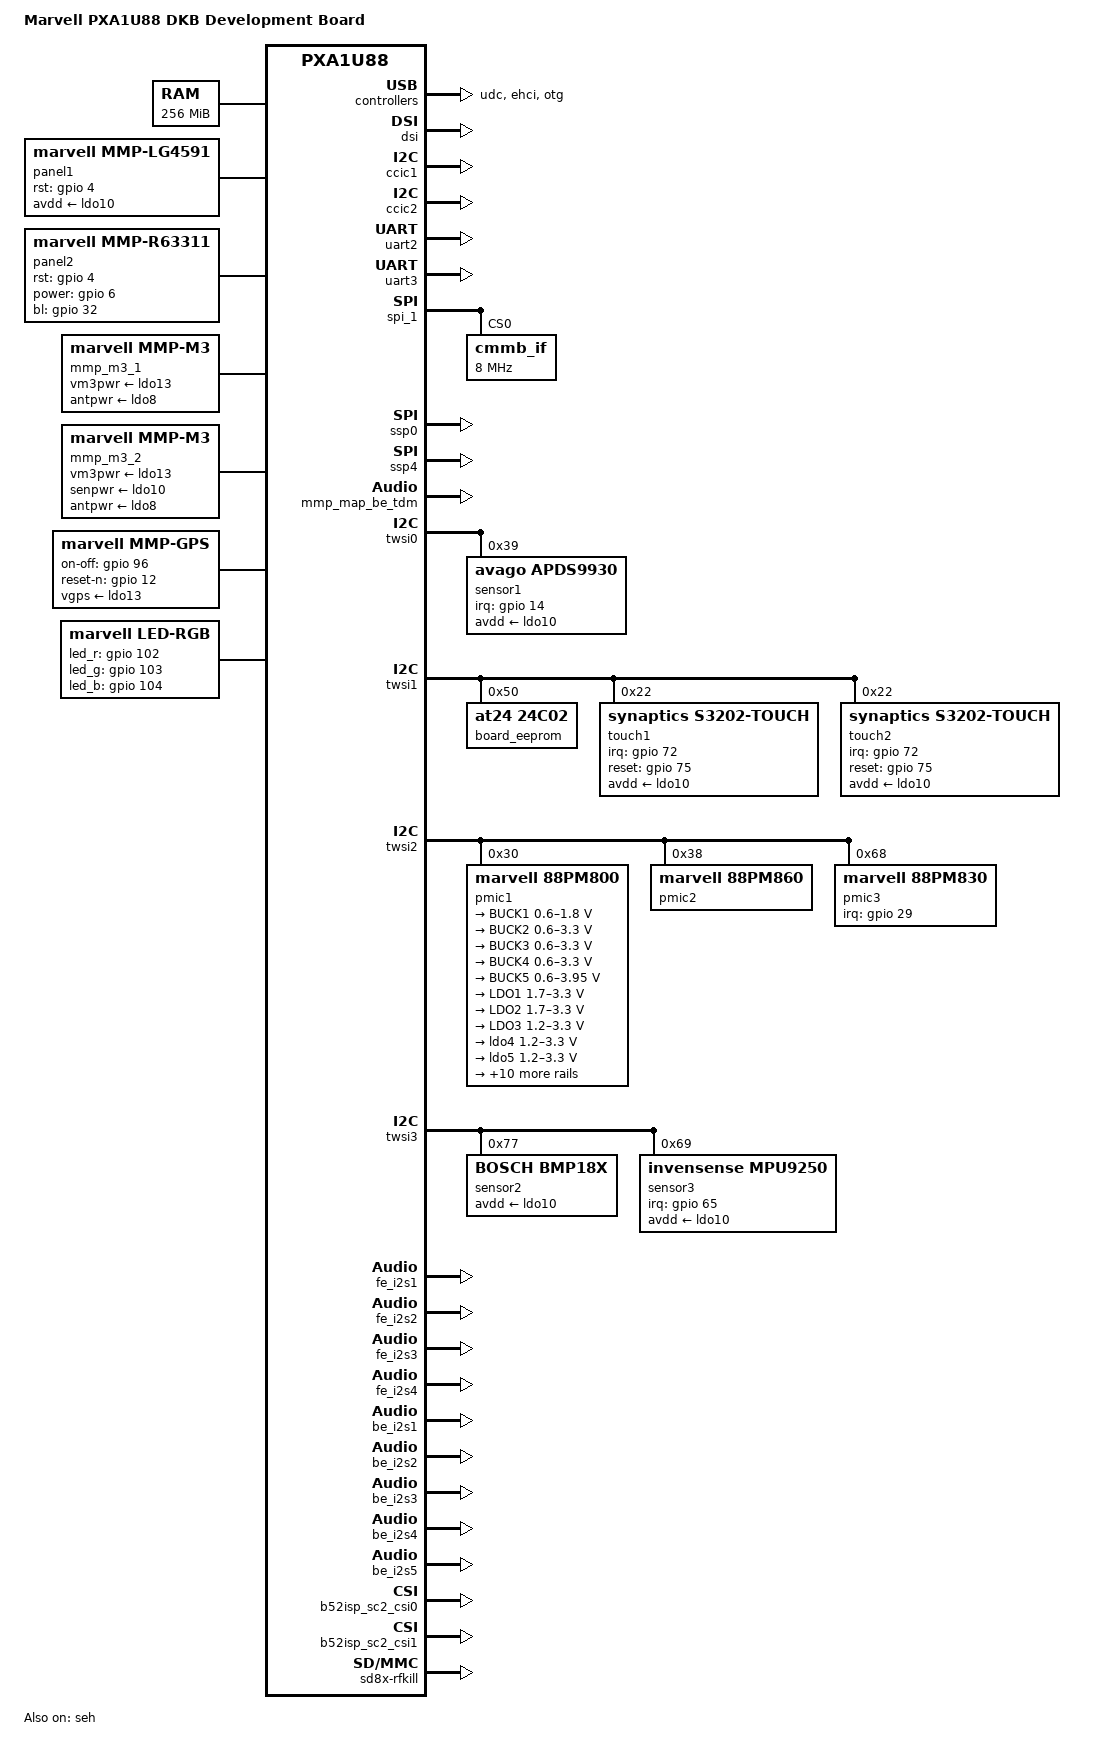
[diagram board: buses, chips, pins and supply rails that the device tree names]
/*
 *  Copyright (C) 2012 Marvell Technology Group Ltd.
 *  Author: Haojian Zhuang <haojian.zhuang@marvell.com>
 *
 *  This program is free software; you can redistribute it and/or modify
 *  it under the terms of the GNU General Public License version 2 as
 *  publishhed by the Free Software Foundation.
 */

/dts-v1/;
/memreserve/ 0x17000000 0x01800000;	/* Frame buffer (24MB) */
/memreserve/ 0x08100000 0x00040000;	/* ramoops buffer (256KB) */
/* hack for helan2 + GC5.x */
/memreserve/ 0x09000000 0x01000000;	/* GPU (16MB)*/

#include "pxa1U88.dtsi"
#include <dt-bindings/mmc/pxa_sdhci.h>
#include <dt-bindings/interrupt-controller/irq.h>

/ {
	model = "Marvell PXA1U88 DKB Development Board";
	compatible = "mrvl,pxa1U88-dkb", "mrvl,pxa1U88";

	chosen {
		bootargs = "console=ttyS0,115200 root=/dev/nfs nfsroot=192.168.1.100:/nfsroot/ ip=192.168.1.101:192.168.1.100::255.255.255.0::eth0:on";
	};

	memory {
		reg = <0x00000000 0x10000000>;
	};

	gic: interrupt-controller@d1dfa000 {
		status = "okay";
	};

	timer {
		status = "okay";
	};

	pmu {
		status = "okay";
	};

	soc {
		clock: clock-controller {
			status = "okay";
		};

		smmu {  /* iommu in vpu */
			status = "okay";
		};

		ddr@c0100000 {  /* DDR memory controller */
			status = "okay";
		};

		axi@d4200000 {	/* AXI */
			coda7542: coda7542@d420d000 {
				marvell,sram-internal = <1>;
				marvell,nv21_support = <1>;
				status = "okay";
			};

			intc: wakeupgen@d4282000 {
				status = "okay";
			};

			usbphy: usbphy@d4207000 {
				status = "okay";
			};

			udc: udc@d4208100 {
				status = "okay";
			};

			ehci: ehci@d4208100 {
				status = "okay";
			};

			otg: otg@d4208100 {
				status = "okay";
			};

			dsi: dsi@d420b800 {
				marvell,phy-name = "mmp_dsi1";
				marvell,plat-path-name = "mmp_pnpath";
				marvell,dsi-lanes = <4>;
				marvell,burst-mode = <2>;
				marvell,hbp-en;
				status = "okay";
			};

			vdma: vdma@d4209000 {
				marvell,vdma-num = <2>;
				marvell,vdma-axi = <1>;
				status = "okay";
				vdma1 {
					marvell,vdma-id = <0>;
					marvell,sram-size = <30720>;
					marvell,is_vid = <0>;
				};
				vdma2 {
					marvell,vdma-id = <2>;
					marvell,sram-size = <30720>;
					marvell,is_vid = <1>;
				};
			};

			apical: apical@d420b400 {
				marvell,apical-num = <1>;
			};

			disp: disp@d420b000 {
				pinctrl-names = "default";
				pinctrl-0 = <&disp_func>;
				marvell,disp-name = "disp_name";
				marvell,path-num = <1>;
				status = "okay";
				path1 {
					marvell,path-name = "mmp_pnpath";
					marvell,overlay-num = <2>;
					marvell,overlay-table = <0>, <1>;
					marvell,output-type = <1>;
					marvell,path-config = <0x10>;
					marvell,link-config = <0x1>;
                                        1080p {
						disp1_clksrc = "pll1_832m";
						disp2_clksrc = "pll2_div3";
						disp3_clksrc = "pll3p";
						dsipll_clksrc = "pll4";
						pn_sclk_clksrc = "disp1";
					};
					720p {
						disp1_clksrc = "pll1_832m";
						disp2_clksrc = "pll2_div3";
						disp3_clksrc = "pll3p";
						dsipll_clksrc = "pll4";
						pn_sclk_clksrc = "disp1";
					};
				};
			};

			fb0: fbbase {
				marvell,fb-name = "mmp-fb";
				marvell,path-name = "mmp_pnpath";
				marvell,overlay-id = <1>;
				marvell,default-pixfmt = <0x109>;
				marvell,buffer-num = <3>;
				marvell,fb-mem = <0x17000000>;
				status = "okay";
			};

			fb1: fboverlay {
				marvell,fb-name = "mmp-fb-overlay";
				marvell,path-name = "mmp_pnpath";
				marvell,overlay-id = <0>;
				status = "okay";
			};

			/* eMMC */
			sdh3: sdh@d4281000 {
				pinctrl-names = "default", "fast";
				pinctrl-0 = <&sdh3_pmx_func1 &sdh3_pmx_func2>;
				pinctrl-1 = <&sdh3_pmx_func1_fast &sdh3_pmx_func2_fast>;
				bus-width = <8>;
				non-removable;
				marvell,sdh-pm-runtime-en;
				marvell,sdh-quirks = <(
						SDHCI_QUIRK_BROKEN_ADMA |
						SDHCI_QUIRK_BROKEN_CARD_DETECTION
						)>;
				marvell,sdh-quirks2 = <(
						SDHCI_QUIRK2_TUNING_ADMA_BROKEN |
						SDHCI_QUIRK2_TIMEOUT_SHORT
						)>;
				marvell,sdh-host-caps = <(MMC_CAP_1_8V_DDR)>;
				marvell,sdh-host-caps2 = <(MMC_CAP2_DISABLE_BLK_ASYNC |
						MMC_CAP2_HS200_1_8V_SDR
						)>;
				marvell,sdh-flags = <(
						PXA_FLAG_SD_8_BIT_CAPABLE_SLOT |
						PXA_FLAG_ENABLE_CLOCK_GATING |
						PXA_FLAG_TX_SEL_BUS_CLK
					      )>;
/* prop "sdh-dtr-data": <timing preset_rate src_rate tx_delay rx_delay rx_clk_sel0 rx_clk_sel1 fclk_tune_level fclk_fix_en> */
				marvell,sdh-dtr-data = <PXA_MMC_TIMING_LEGACY PXA_SDH_DTR_26M PXA_SDH_DTR_104M 0 0 0 0 0 0>,
						<PXA_MMC_TIMING_MMC_HS PXA_SDH_DTR_52M PXA_SDH_DTR_104M 0 0 0 0 0 0>,
						<PXA_MMC_TIMING_UHS_DDR50 PXA_SDH_DTR_52M PXA_SDH_DTR_104M 0 0 0 0 0 0>,
						<PXA_MMC_TIMING_MMC_HS200 PXA_SDH_DTR_208M PXA_SDH_DTR_208M 0 0 0 0 0 0>,
						<PXA_MMC_TIMING_MAX PXA_SDH_DTR_PS_NONE PXA_SDH_DTR_104M 0 0 0 0 0 0>;
				marvell,sdh-tuning-win-limit = <150>;
				marvell,sdh-dvfs-levels = <1 3>; /* tuning from dvfs level 1 to 3  */
				marvell,sdh-tuning-mode = <PXA_SDH_TUNING_DVFS>;
				status = "okay";
			};

			/* SD card */
			sdh1: sdh@d4280000 {
				pinctrl-names = "default", "fast";
				pinctrl-0 = <&sdh1_pmx_func1 &sdh1_pmx_func2 &sdh1_pmx_func3>;
				pinctrl-1 = <&sdh1_pmx_func1 &sdh1_pmx_func2_fast &sdh1_pmx_func3_fast>;
				vqmmc-supply	= <&ldo5>;
				vmmc-supply	= <&ldo4>;
				cd-gpios = <&gpio 91 0>;
				cd-inverted;
				bus-width = <4>;
				wp-inverted;
				marvell,sdh-pm-runtime-en;
				marvell,sdh-host-caps-disable = <(MMC_CAP_UHS_SDR104)>;
				marvell,sdh-quirks = <(
						SDHCI_QUIRK_INVERTED_WRITE_PROTECT |
						SDHCI_QUIRK_BROKEN_CARD_DETECTION
						)>;
				marvell,sdh-quirks2 = <(
						SDHCI_QUIRK2_TUNING_ADMA_BROKEN |
						SDHCI_QUIRK2_TIMEOUT_SHORT
						)>;
				marvell,sdh-flags = <(
						PXA_FLAG_TX_SEL_BUS_CLK |
						PXA_FLAG_ENABLE_CLOCK_GATING
					      )>;
/* prop "sdh-dtr-data": <timing preset_rate src_rate tx_delay rx_delay rx_clk_sel0 rx_clk_sel1 fclk_tune_level fclk_fix_en> */
				marvell,sdh-dtr-data = <PXA_MMC_TIMING_LEGACY PXA_SDH_DTR_26M PXA_SDH_DTR_104M 0 0 0 0 0 0>,
						<PXA_MMC_TIMING_SD_HS PXA_SDH_DTR_52M PXA_SDH_DTR_104M 0 0 0 0 0 0>,
						<PXA_MMC_TIMING_UHS_DDR50 PXA_SDH_DTR_52M PXA_SDH_DTR_104M 0 0 0 0 0 0>,
						<PXA_MMC_TIMING_MAX PXA_SDH_DTR_PS_NONE PXA_SDH_DTR_104M 0 0 0 0 0 0>;
				status = "okay";
			};

			/* SDIO */
			sdh2: sdh@d4280800 {
				pinctrl-names = "default", "fast", "sleep";
				pinctrl-0 = <&sdh2_pmx_func1 &sdh2_pmx_func2 &sdh2_pmx_func3 &sdh2_pmx_func4>;
				pinctrl-1 = <&sdh2_pmx_func1_fast &sdh2_pmx_func2_fast &sdh2_pmx_func3 &sdh2_pmx_func4>;
				pinctrl-2 = <&sdh2_pmx_edge_wakeup>;
				bus-width = <4>;
				marvell,sdh-pm-runtime-en;
				marvell,sdh-host-caps-disable = <(MMC_CAP_UHS_SDR104 | MMC_CAP_UHS_SDR50)>;
				marvell,sdh-quirks = <(SDHCI_QUIRK_BROKEN_CARD_DETECTION)>;
				marvell,sdh-quirks2 = <(SDHCI_QUIRK2_HOLDSUSPEND_AFTER_REQUEST |
						SDHCI_QUIRK2_FAKE_SDIO_IRQ_IN_UHS |
						SDHCI_QUIRK2_TUNING_ADMA_BROKEN |
						SDHCI_QUIRK2_BASE_CLOCK_ALWAYS_ON |
						SDHCI_QUIRK2_MANUAL_CARD_DETECT |
						SDHCI_QUIRK2_TIMEOUT_SHORT
						)>;
				marvell,sdh-pm-caps = <(MMC_PM_KEEP_POWER)>;
				marvell,sdh-host-caps2 = <(MMC_CAP2_NO_VOLTAGE_SWITCH)>;
				marvell,sdh-flags = <(
						PXA_FLAG_WAKEUP_HOST |
						PXA_FLAG_TX_SEL_BUS_CLK |
						PXA_FLAG_EN_PM_RUNTIME |
						PXA_FLAG_DISABLE_PROBE_CDSCAN
					      )>;
/* prop "sdh-dtr-data": <timing preset_rate src_rate tx_delay rx_delay rx_clk_sel0 rx_clk_sel1 fclk_tune_level fclk_fix_en> */
				marvell,sdh-dtr-data = <PXA_MMC_TIMING_LEGACY PXA_SDH_DTR_26M PXA_SDH_DTR_104M 0 0 0 0 0 0>,
						<PXA_MMC_TIMING_SD_HS PXA_SDH_DTR_45M PXA_SDH_DTR_89M 0 0 0 0 0 0>,
						<PXA_MMC_TIMING_UHS_DDR50 PXA_SDH_DTR_52M PXA_SDH_DTR_104M 0 0 0 0 0 0>,
						<PXA_MMC_TIMING_UHS_SDR50 PXA_SDH_DTR_104M PXA_SDH_DTR_104M 0 0 0 0 0 0>,
						<PXA_MMC_TIMING_UHS_SDR104 PXA_SDH_DTR_208M PXA_SDH_DTR_208M 600 0 0 0 0 0>,
						<PXA_MMC_TIMING_MAX PXA_SDH_DTR_PS_NONE PXA_SDH_DTR_89M 0 0 0 0 0 0>;
				status = "okay";
			};

			ccic1: ccic@d420a000 {
			   pinctrl-names = "default";
			   pinctrl-0 = <&ccic1_pmx_func1 &ccic1_pmx_func2>;
			   interrupts = <0 42 0x4>;
			   status = "okay";
			};

			ccic2: ccic@d420a800 {
			   pinctrl-names = "default";
			   pinctrl-0 = <&ccic2_pmx_func1 &ccic2_pmx_func2>;
			   interrupts = <0 77 0x4>;
			   status = "okay";
			};

			sc2mmu1: sc2mmu@d420F000 {
				interrupts = <0 15 0x4>;
				status = "okay";
			};

			b52isp: b52isp@0xC0200000 {
				interrupts = <0 11 0x4>;
				status = "okay";
			};

			vpu-devfreq {
				status = "okay";
			};

			asram: asram@d12a0000 {
				status = "okay";
			};

			adma0: adma@d128d800 {
				status = "okay";
			};
			adma1: adma@d128d900 {
				status = "okay";
			};
		};

		apb@d4000000 {
			pdma0: pdma@d4000000 {
				status = "okay";
			};

			timer2: timer@d401f000 {
				status = "okay";
			};

			uart2: uart@d4017000 {
				pinctrl-names = "default", "sleep";
				pinctrl-0 = <&uart2_pmx_func1 &uart2_pmx_func2>;
				pinctrl-1 = <&uart2_pmx_func1_sleep &uart2_pmx_func2>;
				edge-wakeup-gpio = <47>; /* GPIO47: UART rx pin */
				status = "okay";
			};

			uart3: uart@d4018000 {
				pinctrl-names = "default";
				pinctrl-0 = <&uart3_pmx_func>;
				status = "okay";
			};

			mfpr: mfpr@d401e000 {
				reg = <0xd401e000 0x280>;
				status = "ok";
			};

			edgewakeup: edgewakeup@d4019800 {
				status = "okay";
			};

			rtc: rtc@d4010000 {
				status = "okay";
			};

			swjtag: swjtag@d4013100 {
				status = "okay";
			};

			thermal: thermal@d4013300 {
				/* A cooling path is defined with the increased num */
				/* 4core 3core 2core 1core */
				core-p0 = <0 0 0 0  /* 2.0G */
					   1 0 0 0  /* 1.8G */
					   2 0 0 0  /* 1.5G */
					   3 0 0 0>;/* 1.2G */
				/* 1.2G * 2 core cooling state */
				thermal_safe-p0 = <3 2>;
				status = "okay";
			};

			keypad: keypad@d4012000 {
				marvell,direct-keys;
				marvell,direct-key-low-active;
				marvell,keypad-lpm-mod;
				marvell,direct-key-count = <2>;
				marvell,direct-key-mask = <0xff>;
				marvell,direct-key-map = < 0x73
							   0x72>;
				marvell,debounce-interval = <30>;
				pinctrl-names = "default";
				pinctrl-0 = <&keypad_in_func>;
				status = "okay";
			};

			keyreset {
				compatible = "marvell,keyreset";
				keys-down = <0x73 0x72>;
				keyreset-need-panic;
			};

			spi_1: spi@d401b000 {
					port = <&ssp0>;
					status = "okay";
					pinctrl-names = "default";
					pinctrl-0 = <&spi1_pmx_func>;
					#address-cells = <1>;
					#size-cells = <0>;
					cmmb_if {
						compatible = "cmmb_if";
						reg = <0x0 0x0>;
						bus_num = <1>;
						mode = <0x0>;
						spi-max-frequency = <8000000>;
					};
			};

			ssp0: ssp@d401b000 {
				status = "okay";
			};

			ssp4: ssp@d4039000 {
				status = "okay";
			};

			ssp_dai4: pxa-ssp-dai@4 {
				compatible = "mrvl,pxa-ssp-dai";
				reg = <0x4 0x0>;
				port = <&ssp4>;
				pinctrl-names = "default","ssp";
				pinctrl-0 = <&gssp_gpio>;
				pinctrl-1 = <&gssp_func>;
				ssp-gpio = <&gpio 25 0 &gpio 26 0 &gpio 27 0 &gpio 28 0>;
				dmas = <&pdma0 6 0
					&pdma0 7 0>;
				dma-names = "rx", "tx";
				platform_driver_name = "pdma_platform";
				burst_size = <8>;
				playback_period_bytes = <4096>;
				playback_buffer_bytes = <131072>;
				capture_period_bytes = <4096>;
				capture_buffer_bytes = <131072>;
			};

			/* SSPA port 0 */
			sspa0: sspa@d128dc00 {
				pinctrl-names = "default";
				pinctrl-0 = <&sspa0_func>;
				playback_period_bytes = <4096>;
				playback_buffer_bytes = <12288>;
				capture_period_bytes = <4096>;
				capture_buffer_bytes = <8192>;
				burst_size = <4>;
				sleep_vol = <0x14>;
				#dailink-cells = <1>;
				status = "okay";
			};

			/* SSPA port 1 */
			sspa1: sspa@d128dd00 {
				pinctrl-names = "default";
				pinctrl-0 = <&sspa1_func>;
				playback_period_bytes = <16384>;
				playback_buffer_bytes = <32768>;
				capture_period_bytes = <4096>;
				capture_buffer_bytes = <8192>;
				burst_size = <4>;
				sleep_vol = <0x14>;
				#dailink-cells = <1>;
				status = "okay";
			};

			map: map@d1200000 {
				marvell,apll = <0>;
				status = "okay";
				mmp_map_codec: mmp_map_codec {
					compatible = "marvell,mmp-map-codec";
					#dailink-cells = <1>;
				};
				mmp_map_be: mmp_map_be {
					compatible = "marvell,mmp-map-be";
					#dailink-cells = <1>;
				};
				mmp_map_be_tdm: mmp_map_be_tdm {
					compatible = "marvell,mmp-map-be-tdm";
					#dailink-cells = <1>;
				};
			};

			gpio: gpio@d4019000 {
				status = "okay";
				/*
				 * In theorical, some gpios could be routed to
				 * multiple pins. So define the gpio-ranges in
				 * board file, not silicon file.
				 */
				gcb0: gpio@d4019000 {
					/* gpio offset, pin offset, nr pins */
					gpio-ranges = <&pmx 0 55 32>;
				};
				gcb1: gpio@d4019004 {
					gpio-ranges = <&pmx 0 87 23>;
				};
				gcb2: gpio@d4019008 {
					gpio-ranges = <&pmx 3 110 29>;
				};
				gcb3: gpio@d4019100 {
					gpio-ranges = <&pmx 0 139 3  &pmx 28 52 1>;
				};
			};
			pmx: pinmux@d401e000 {
				status = "okay";
				pinctrl-names = "default";
				pinctrl-0 = <&mfp_pins_group_0 &mfp_pins_group_1 &mfp_pins_group_2>;

				/* pin base, nr pins & gpio function */
				pinctrl-single,gpio-range = <
					/*
					 * GPIO number is hardcoded for range at here.
					 * In gpio chip, GPIO number is not hardcoded for range.
					 * Since one gpio pin may be routed to multiple pins,
					 * define these gpio range in pxa910-dkb.dts not pxa910.dtsi.
					 */
					&range 55 55 0	/* GPIO0 ~ GPIO54 */
					&range 110 32 0 /* GPIO67 ~ GPIO98 */
					&range 52 1 0	/* GPIO124 */
				>;

				/* MFP_PULL_HIGH | MFP_LPM_FLOAT */
				mfp_pins_group_0: mfp_pins_group_0 {
					pinctrl-single,pins = <
						PRI_TDO AF0
						DF_RDY0 AF1
						DF_RDY1 AF1
						DF_nCS0_SM_nCS2 AF1
						PA_MODE AF6
						RF_CONF_4 AF6
						SM_ADVMUX AF1
					>;
					MFP_LPM_PULL_UP;
				};

				mfp_pins_group_1: mfp_pins_group_1 {
					pinctrl-single,pins = <
						DF_IO8 AF0
						DF_IO9 AF0
						GPIO76 AF0
					>;
					MFP_LPM_PULL_DW;
				};

				/* CP UART Rx and Tx */
				/* CCIC1/CCI2 MCLK pin */
				mfp_pins_group_2: mfp_pins_group_2 {
					pinctrl-single,pins = <
						GPIO43 AF7
						GPIO44 AF7
						GPIO77 AF1
					>;
					MFP_DEFAULT;
				};

				/* MFP_DEFAULT */
				sdh1_pmx_func1: sdh1_pmx_func1 {
					pinctrl-single,pins = <
						MMC1_DAT7 AF1
						MMC1_DAT6 AF1
						MMC1_DAT5 AF1
						MMC1_DAT4 AF1
						MMC1_WP AF1
						MMC1_CD AF1 /* Above pins not used by sdh1, configured as GPIO */
						GPIO91 AF0 /* GPIO91, used for sd card detect */
					>;
					MFP_DEFAULT;
				};

				/* no pull, no LPM */
				sdh1_pmx_func2: sdh1_pmx_func2 {
					pinctrl-single,pins = <
						MMC1_DAT3 AF0
						MMC1_DAT2 AF0
						MMC1_DAT1 AF0
						MMC1_DAT0 AF0
						MMC1_CMD AF0
					>;
					MFP_DEFAULT;
				};

				/* MFP_LPM_DRIVE_LOW */
				sdh1_pmx_func3: sdh1_pmx_func3 {
					pinctrl-single,pins = <
						MMC1_CLK AF0
					>;
					MFP_LPM_DRIVE_LOW;
				};

				/* ds fast, no pull, no LPM */
				sdh1_pmx_func2_fast: sdh1_pmx_func2_fast {
					pinctrl-single,pins = <
						MMC1_DAT3 AF0
						MMC1_DAT2 AF0
						MMC1_DAT1 AF0
						MMC1_DAT0 AF0
						MMC1_CMD AF0
					>;
					DS_FAST;PULL_NONE;EDGE_NONE;LPM_NONE;
				};

				/* ds fast, LPM_DRIVE_LOW */
				sdh1_pmx_func3_fast: sdh1_pmx_func3_fast {
					pinctrl-single,pins = <
						MMC1_CLK AF0
					>;
					DS_FAST;PULL_NONE;EDGE_NONE;LPM_DRIVE_LOW;
				};

				sdh2_pmx_func1_fast: sdh2_pmx_func1_fast {
						pinctrl-single,pins = <
							GPIO37 AF1
							GPIO38 AF1
							GPIO39 AF1
							GPIO40 AF1
							GPIO41 AF1
						>;
						DS_FAST;PULL_NONE;EDGE_NONE;LPM_NONE;
				};

				sdh2_pmx_func2_fast: sdh2_pmx_func2_fast {
						pinctrl-single,pins = <
							GPIO42 AF1
						>;
						DS_FAST;PULL_NONE;EDGE_NONE;LPM_DRIVE_LOW;
				};

				sdh2_pmx_func1: sdh2_pmx_func1 {
						pinctrl-single,pins = <
							GPIO37 AF1
							GPIO38 AF1
							GPIO39 AF1
							GPIO40 AF1
							GPIO41 AF1
						>;
						MFP_DEFAULT;
				};

				sdh2_pmx_func2: sdh2_pmx_func2 {
						pinctrl-single,pins = <
							GPIO42 AF1
						>;
						DS_SLOW0;PULL_NONE;EDGE_NONE;LPM_DRIVE_LOW;
				};

				sdh2_pmx_func3: sdh2_pmx_func3 {
						pinctrl-single,pins = <
							GPIO7 AF0
							GPIO71 AF0
							GPIO20 AF0 /* WIB_3V3_EN */
						>;
						DS_MEDIUM;PULL_FLOAT;EDGE_NONE;LPM_NONE;
				};

				sdh2_pmx_func4: sdh2_pmx_func4 {
						pinctrl-single,pins = <
							GPIO8 AF0
							GPIO5 AF0
						>;
						DS_MEDIUM;PULL_DOWN;EDGE_NONE;LPM_NONE;
				};

				sdh2_pmx_edge_wakeup: sdh2_pmx_edge_wakeup {
						pinctrl-single,pins = <
							GPIO39 AF1
						>;
						DS_MEDIUM;PULL_NONE;EDGE_BOTH;LPM_NONE;
				};

				/* no pull, no LPM */
				sdh3_pmx_func1: sdh3_pmx_func1 {
					pinctrl-single,pins = <
						ND_IO7 AF1
						ND_IO6 AF1
						ND_IO5 AF1
						ND_IO4 AF1
						ND_IO3 AF1
						ND_IO2 AF1
						ND_IO1 AF1
						ND_IO0 AF1
						ND_CLE_SM_OEN AF1
					>;
					MFP_DEFAULT;
				};

				/* MFP_LPM_DRIVE_LOW */
				sdh3_pmx_func2: sdh3_pmx_func2 {
					pinctrl-single,pins = <
						SM_SCLK AF1
					>;
					MFP_LPM_DRIVE_LOW;
				};

				/* ds fast, no pull, no LPM */
				sdh3_pmx_func1_fast: sdh3_pmx_func1_fast {
					pinctrl-single,pins = <
						ND_IO7 AF1
						ND_IO6 AF1
						ND_IO5 AF1
						ND_IO4 AF1
						ND_IO3 AF1
						ND_IO2 AF1
						ND_IO1 AF1
						ND_IO0 AF1
						ND_CLE_SM_OEN AF1
					>;
					DS_FAST;PULL_NONE;EDGE_NONE;LPM_NONE;
				};

				/* ds fast, LPM_DRIVE_LOW */
				sdh3_pmx_func2_fast: sdh3_pmx_func2_fast {
					pinctrl-single,pins = <
						SM_SCLK AF1
					>;
					DS_FAST;PULL_NONE;EDGE_NONE;LPM_DRIVE_LOW;
				};

				gnss_pmx_def1: gnss_pmx_def1 {
					pinctrl-single,pins = <
						ND_IO11 AF1
						ND_IO12 AF1
						ND_IO13 AF1
						ND_IO15 AF1
					>;
					MFP_LPM_PULL_DW;
				};

				gnss_pmx_def2: gnss_pmx_def2 {
					pinctrl-single,pins = <
						ND_IO14 AF0
					>;
					MFP_LPM_FLOAT;
				};

				gnss_pmx_power_on: gnss_pmx_power_on {
					pinctrl-single,pins = <
						ND_IO11 AF5
						ND_IO12 AF5
						ND_IO13 AF5
						ND_IO14 AF5
						ND_IO15 AF5
					>;
					MFP_DEFAULT;
				};

				uart2_pmx_func1: uart2_pmx_func1 {
					pinctrl-single,pins = <
						GPIO47 AF6
					>;
					MFP_DEFAULT;
				};

				uart2_pmx_func2: uart2_pmx_func2 {
					pinctrl-single,pins = <
						GPIO48 AF6
					>;
					MFP_DEFAULT;
				};

				uart2_pmx_func1_sleep: uart2_pmx_func1_sleep {
					pinctrl-single,pins = <
						GPIO47 AF6
					>;
					DS_MEDIUM;PULL_NONE;EDGE_BOTH;LPM_NONE;
				};

				uart3_pmx_func: uart3_pmx_func {
					pinctrl-single,pins = <
						GPIO45 AF1
						GPIO46 AF1
					>;
					MFP_DEFAULT;
				};

				keypad_in_func: keypad_in_func {
					pinctrl-single,pins = <
						GPIO16 AF1	/* GPIO016_KP_DKIN1 */
						GPIO17 AF1	/* GPIO017_KP_DKIN2 */
					>;
					DS_MEDIUM;PULL_UP;EDGE_NONE;LPM_DRIVE_HIGH;
				};

				gps_pmx_reset: gps_pmx_reset {
					pinctrl-single,pins = <
						GPIO12 AF0
					>;
					DS_MEDIUM;PULL_DOWN;EDGE_NONE;LPM_NONE;
				};
				gps_pmx_eclk: gps_pmx_eclk {
					/* eclk */
					pinctrl-single,pins = <
						0x0124 0x6
					>;
					MFP_DEFAULT;
				};

				gps_pmx_gpio: gps_pmx_gpio {
					/* gpio18 */
					pinctrl-single,pins = <
						0x0124 0x0
					>;
					MFP_DEFAULT;
				};

				spi1_pmx_func: spi1_pmx_func {
					/*
					 * Since spi isn't used on DKB, set spi
					 * mfp pin to gpio and set the mfp's
					 * config to MFP_DEFAULT to avoid power
					 * leakage. To enable spi, below config
					 * should be modified as below:
					 * GPIO33 AF2
					 * GPIO34 AF2
					 * GPIO35 AF2
					 * GPIO36 AF2
					 * DS_MEDIUM;PULL_DOWN;EDGE_NONE;LPM_NONE;
					 */
					pinctrl-single,pins = <
						GPIO33 AF0 /* GPIO33 SSP0_CLK */
						GPIO34 AF0 /* GPIO34 SSP0_FRM */
						GPIO35 AF0 /* GPIO35 SSP0_RX */
						GPIO36 AF0 /* GPIO36 SSP0_TX */
					>;
					MFP_DEFAULT;
				};

				ccic1_pmx_func1: ccic1_pmx_func1 {
					pinctrl-single,pins = <
						GPIO67 AF5
						GPIO68 AF5
					>;
					MFP_DEFAULT;
				};

				ccic1_pmx_func2: ccic1_pmx_func2 {
					pinctrl-single,pins = <
						GPIO51 AF7
						GPIO52 AF7
					>;
					MFP_LPM_FLOAT;
				};
				ccic2_pmx_func1: ccic2_pmx_func1 {
					pinctrl-single,pins = <
						GPIO69 AF5
						GPIO70 AF5
					>;
					MFP_DEFAULT;
				};

				ccic2_pmx_func2: ccic2_pmx_func2 {
					pinctrl-single,pins = <
						GPIO53 AF7
						GPIO54 AF7
					>;
					MFP_LPM_FLOAT;
				};

				twsi0_pmx_func: twsi0_pmx_func {
					/* gpio79/80: AF1 */
					pinctrl-single,pins = <
						GPIO79 0x1
						GPIO80 0x1
					>;
					MFP_LPM_FLOAT;
				};
				twsi0_pmx_gpio: twsi0_pmx_gpio {
					pinctrl-single,pins = <
						GPIO79 AF0
						GPIO80 AF0
					>;
					MFP_LPM_FLOAT;
				};
				twsi1_pmx_func: twsi1_pmx_func {
					/* gpio87/88: AF5 */
					pinctrl-single,pins = <
						GPIO87 0x5
						GPIO88 0x5
					>;
					MFP_LPM_FLOAT;
				};
				twsi1_pmx_gpio: twsi1_pmx_gpio {
					pinctrl-single,pins = <
						GPIO87 AF0
						GPIO88 AF0
					>;
					MFP_LPM_FLOAT;
				};

				twsi3_pmx_func: twsi3_pmx_func {
					/* gpio73/74: AF5 */
					pinctrl-single,pins = <
						0x1d0 0x5
						0x1d4 0x5
					>;
					MFP_LPM_FLOAT;
				};
				twsi3_pmx_gpio: twsi3_pmx_gpio {
					pinctrl-single,pins = <
						GPIO73 AF0
						GPIO74 AF0
					>;
					MFP_LPM_FLOAT;
				};
				twsi3_pmx_senhb: twsi3_pmx_senhb {
					pinctrl-single,pins = <
						GPIO73 AF7
						GPIO74 AF7
					>;
					MFP_DEFAULT;
				};
				twsi3_pmx_senhb_def: twsi3_pmx_senhb_def {
					pinctrl-single,pins = <
						GPIO73 AF7
						GPIO74 AF7
					>;
					MFP_LPM_FLOAT;
				};
				pm830_pmx_func1: pm830_pmx_func1 {
					pinctrl-single,pins = <
						GPIO29 AF0
					>;
					MFP_DEFAULT;
				};
				pm830_pmx_func1_sleep: pm830_pmx_func1_sleep {
					pinctrl-single,pins = <
						GPIO29 AF0
					>;
					DS_MEDIUM;PULL_NONE;EDGE_BOTH;LPM_NONE;
				};

				touch_pins: touch_pins {
					pinctrl-single,pins = <
						GPIO72 0x0
						GPIO75 0x0
					>;
					MFP_LPM_FLOAT;

				};
				pm830_pmx_leds: pm830_pmx_leds {
					pinctrl-single,pins = <
						GPIO19 AF0	/* PA_EN */
						GPIO95 AF0	/* FLASH_EN */
					>;
					MFP_LPM_FLOAT;
				};
				pm830_bat_det: pm830_bat_det {
					pinctrl-single,pins = <
						GPIO31 AF0	/* BAT_DET */
					>;
					MFP_LPM_PULL_DW;
				};
				senhb_irq_pins_def: senhb_irq_pins_def {
					pinctrl-single,pins = <
						GPIO11 AF0
						GPIO10 AF0
						ND_IO10 AF5
					>;
					MFP_DEFAULT;
				};
				m9250_irq_pin: m9250_irq_pin {
					pinctrl-single,pins = <
					ND_IO10 AF1
					>;
					MFP_LPM_PULL_DW;
				};
				sspa0_gpio: sspa0_gpio {
					pinctrl-single,pins = <
						GPIO21 AF0
						GPIO22 AF0
						GPIO23 AF0
						GPIO24 AF0
					>;
					DS_MEDIUM;PULL_NONE;EDGE_NONE;LPM_FLOAT;
				};
				sspa0_func: sspa0_func {
					pinctrl-single,pins = <
						GPIO21 AF7
						GPIO22 AF7
						GPIO23 AF7
						GPIO24 AF7
					>;
					DS_MEDIUM;PULL_NONE;EDGE_NONE;LPM_NONE;
				};
				sspa1_func: sspa1_func {
					pinctrl-single,pins = <
						GPIO25 AF7
						GPIO26 AF7
						GPIO27 AF7
						GPIO28 AF7
					>;
					DS_MEDIUM;PULL_NONE;EDGE_NONE;LPM_NONE;
				};
				disp_func: disp_func {
					pinctrl-single,pins = <
						GPIO4 AF0
						GPIO6 AF0
						GPIO32 AF0
					>;
					MFP_LPM_PULL_DW;
				};
				/* no pull, no LPM */
				dvc_pmx_func: dvc_pmx_func {
					pinctrl-single,pins = <
						GPIO93 AF5
						GPIO94 AF5
					>;
					MFP_DEFAULT;
				};
				gssp_func: gssp_func {
					pinctrl-single,pins = <
						GPIO25 AF1
						GPIO26 AF1
						GPIO27 AF1
						GPIO28 AF1
					>;
					DS_MEDIUM;PULL_NONE;EDGE_NONE;LPM_NONE;
				};
				gssp_gpio: gssp_gpio {
					pinctrl-single,pins = <
						GPIO25 AF0
						GPIO26 AF0
						GPIO27 AF0
						GPIO28 AF0
					>;
					DS_MEDIUM;PULL_NONE;EDGE_NONE;LPM_FLOAT;
				};

				led_pmx_func: led_pmx_func {
					pinctrl-single,pins = <
						/* LED_R_CTRL */
						DF_nCS1_SM_nCS3 AF1
						/* LED_G_CTRL */
						SM_nCS0 AF1
						/* LED_B_CTRL */
						SM_nCS1 AF1
					>;
					MFP_LPM_PULL_DW;
				};
			};

			twsi0: i2c@d4011000 {
				pinctrl-names = "default","gpio";
				pinctrl-0 = <&twsi0_pmx_func>;
				pinctrl-1 = <&twsi0_pmx_gpio>;
				i2c-gpio = <&gpio 79 0 &gpio 80 0>;
				status = "okay";

				sensor1: apds9930@39 {
					compatible = "avago,apds9930";
					reg = <0x39>;
					interrupt-parent = <&gpio>;
					interrupts = <14 0x1>;
					irq-gpios = <&gpio 14 0>;
					avdd-supply = <&ldo10>;
				};
			};

			twsi1: i2c@d4010800 {
				pinctrl-names = "default","gpio";
				pinctrl-0 = <&twsi1_pmx_func>;
				pinctrl-1 = <&twsi1_pmx_gpio>;
				i2c-gpio = <&gpio 87 0 &gpio 88 0>;
				status = "okay";

				board_eeprom: 24aa025t {
					compatible = "at24,24c02";
					reg = <0x50>;
				};

				touch1: s3202@720p {
					compatible = "synaptics,s3202-touch";
					pinctrl-names = "default"; pinctrl-0 = <&touch_pins>;
					reg = <0x22>;
					interrupt-parent = <&gpio>;
					interrupts = <72 0x1>;
					/* IRQF_ONESHOT | IRQF_TRIGGER_FALLING */
					synaptics,irq-flags =  <0x2002>;
					synaptics,irq-gpios = <&gpio 72 0>;
					synaptics,reset-gpios = <&gpio 75 0>;
					synaptics,sensor_res_x = <720>;
					synaptics,sensor_res_y = <1280>;
					synaptics,sensor_max_x = <798>;
					synaptics,sensor_max_y = <1392>;
					synaptics,sensor_margin_x = <39>;
					synaptics,sensor_margin_y = <0>;
					avdd-supply = <&ldo10>;
				};

				touch2: s3202@1080p {
					compatible = "synaptics,s3202-touch";
					pinctrl-names = "default"; pinctrl-0 = <&touch_pins>;
					reg = <0x22>;
					interrupt-parent = <&gpio>;
					interrupts = <72 0x1>;
					/* IRQF_ONESHOT | IRQF_TRIGGER_FALLING */
					synaptics,irq-flags =  <0x2002>;
					synaptics,irq-gpios = <&gpio 72 0>;
					synaptics,reset-gpios = <&gpio 75 0>;
					synaptics,sensor_res_x = <1080>;
					synaptics,sensor_res_y = <1920>;
					synaptics,sensor_max_x = <1080>;
					synaptics,sensor_max_y = <2070>;
					synaptics,sensor_margin_x = <0>;
					synaptics,sensor_margin_y = <0>;
					avdd-supply = <&ldo10>;
				};

			};

			twsi2: i2c@d4037000 {
				status = "okay";

				pmic1: 88pm822@30 {
					compatible = "marvell,88pm800";
					reg = <0x30>;
					interrupts = <0 4 0x4>;
					interrupt-parent = <&gic>;
					interrupt-controller;
					#interrupt-cells = <1>;
					marvell,88pm800-irq-write-clear;

					marvell,88pm800-power-page-addr = <0x31>;
					marvell,88pm800-gpadc-page-addr = <0x32>;

					regulators {
						compatible = "marvell,88pm80x-regulator";

						BUCK1 {
							regulator-compatible = "88PM800-BUCK1";
							regulator-min-microvolt = <600000>;
							regulator-max-microvolt = <1800000>;
							regulator-boot-on;
							regulator-always-on;
						};
						BUCK2 {
							regulator-compatible = "88PM800-BUCK2";
							regulator-min-microvolt = <600000>;
							regulator-max-microvolt = <3300000>;
							regulator-boot-on;
							regulator-always-on;
						};
						BUCK3 {
							regulator-compatible = "88PM800-BUCK3";
							regulator-min-microvolt = <600000>;
							regulator-max-microvolt = <3300000>;
							regulator-boot-on;
							regulator-always-on;
						};
						BUCK4 {
							regulator-compatible = "88PM800-BUCK4";
							regulator-min-microvolt = <600000>;
							regulator-max-microvolt = <3300000>;
							regulator-boot-on;
							regulator-always-on;
						};
						BUCK5 {
							regulator-compatible = "88PM800-BUCK5";
							regulator-min-microvolt = <600000>;
							regulator-max-microvolt = <3950000>;
							regulator-boot-on;
							regulator-always-on;
						};
						LDO1 {
							regulator-compatible = "88PM800-LDO1";
							regulator-min-microvolt = <1700000>;
							regulator-max-microvolt = <3300000>;
							regulator-boot-on;
							regulator-always-on;
						};
						LDO2 {
							regulator-compatible = "88PM800-LDO2";
							regulator-min-microvolt = <1700000>;
							regulator-max-microvolt = <3300000>;
							regulator-boot-on;
							regulator-always-on;
						};
						LDO3 {
							regulator-compatible = "88PM800-LDO3";
							regulator-min-microvolt = <1200000>;
							regulator-max-microvolt = <3300000>;
							regulator-boot-on;
							regulator-always-on;
						};
						ldo4: LDO4 {
							regulator-compatible = "88PM800-LDO4";
							regulator-min-microvolt = <1200000>;
							regulator-max-microvolt = <3300000>;
						};
						ldo5: LDO5 {
							regulator-compatible = "88PM800-LDO5";
							regulator-min-microvolt = <1200000>;
							regulator-max-microvolt = <3300000>;
						};
						LDO6 {
							regulator-compatible = "88PM800-LDO6";
							regulator-min-microvolt = <1200000>;
							regulator-max-microvolt = <3300000>;
						};
						LDO7 {
							regulator-compatible = "88PM800-LDO7";
							regulator-min-microvolt = <1200000>;
							regulator-max-microvolt = <3300000>;
							regulator-boot-on;
							regulator-always-on;
						};
						ldo8: LDO8 {
							regulator-compatible = "88PM800-LDO8";
							regulator-min-microvolt = <1200000>;
							regulator-max-microvolt = <3300000>;
							regulator-boot-on;
							regulator-always-on;
						};
						LDO9 {
							regulator-compatible = "88PM800-LDO9";
							regulator-min-microvolt = <1200000>;
							regulator-max-microvolt = <3300000>;
						};
						ldo10: LDO10 {
							regulator-compatible = "88PM800-LDO10";
							regulator-min-microvolt = <1200000>;
							regulator-max-microvolt = <3300000>;
						};
						ldo11: LDO11 {
							regulator-compatible = "88PM800-LDO11";
							regulator-min-microvolt = <1200000>;
							regulator-max-microvolt = <3300000>;
						};
						ldo12: LDO12 {
							regulator-compatible = "88PM800-LDO12";
							regulator-min-microvolt = <600000>;
							regulator-max-microvolt = <1500000>;
						};
						ldo13: LDO13 {
							regulator-compatible = "88PM800-LDO13";
							regulator-min-microvolt = <1700000>;
							regulator-max-microvolt = <3300000>;
						};
						ldo14: LDO14 {
							regulator-compatible = "88PM800-LDO14";
							regulator-min-microvolt = <1700000>;
							regulator-max-microvolt = <2800000>;
						};
						voutsw: VOUTSW {
							regulator-compatible = "88PM800-VOUTSW";
							regulator-min-microvolt = <1700000>;
							regulator-max-microvolt = <1800000>;
						};
					};

					vibrator: vibrator {
						compatible = "marvell,88pm80x-vibrator";
						min-timeout = <10>;
						duty-cycle = <0x3f>;
					};

					headset {
						compatible = "marvell,88pm80x-headset";
						marvell,switch-name = "h2w";
						marvell,headset-flag = <1>;
						marvell,hook-press-th = <60>;
						marvell,vol-up-press-th = <250>;
						marvell,vol-down-press-th = <500>;
						marvell,mic-det-th = <600>;
						marvell,press-release-th = <600>;
						marvell,micbias-supply = <&ldo14>;
					};

					dvc {
						compatible = "marvell,88pm8xx-dvc";
						/* pm822 dvc affect buck1/3/5, affected 32bit = (1 << 4) | (1 << 2) | (1 << 0)*/
						dvc-affected-buckbits = <21>;
						pinctrl-names = "default";
						pinctrl-0 = <&dvc_pmx_func>;
					};
				};
				pmic2: 88pm860@38 {
					compatible = "marvell,88pm860";
					reg = <0x38>;
					/* no codec_int currently, comment out now */
					/*
					interrupt-parent = <&gpio>;
					interrupts = <124 0x1>;
					marvell,88pm805-irq-write-clear;
					*/
					pm860_codec: pm860_codec {
						compatible = "marvell,88pm860-codec";
						#dailink-cells = <1>;
					};
				};

				pmic3: 88pm830@68 {
					compatible = "marvell,88pm830";

					pinctrl-names = "default", "sleep";
					pinctrl-0 = <&pm830_pmx_func1 &pm830_pmx_leds &pm830_bat_det>;
					pinctrl-1 = <&pm830_pmx_func1_sleep &pm830_pmx_leds &pm830_bat_det>;
					edge-wakeup-gpio = <29>; /* GPIO29: interrupt line */

					reg = <0x68>;
					interrupt-parent = <&gpio>;
					interrupt-controller;
					/* edge falling */
					interrupts = <29 2>;
					#interrupt-cells = <1>;

					/* IRQF_ONESHOT | IRQF_TRIGGER_FALLING */
					marvell,88pm830-irq-flags =  <0x2002>;

					/*
					 * charger, batttery parameters are based on Lenovo BL209 battery
					 * Part Name: Li-ion Polymer Rechargeable Battery
					 * Pack Parts No.: ALE455557SA
					 * Pack Standard: 2000mAh(0.2C)
					 * Cell Model: SP455557SA
					 * Pack Model: 1S1P-SP455557SA-PCM
					 */
					charger {
						compatible = "marvell,88pm830-chg";
						prechg-current = <100>;	/* mA */
						prechg-voltage = <3300>; /* mV */
						prechg-timeout = <32>; /* minute */

						fastchg-eoc = <20>; /* mA */
						fastchg-voltage = <4200>; /* mV */
						fastchg-timeout = <8>; /* hour */

						over-voltage = <4500>; /* mV */

						no-thermal-support = <0>;
						thermal-threshold = <0x54 0x36 0x14 0xe>;

						temp-configure = <0x22>;
						temp-threshold = <150>;

						mppt-weight = <0x2>; /* 25% */
						mppt-period = <0x7>; /* 20ms */
						mppt-start-current = <0xf>; /* 1600mA */

					};

					battery {
						compatible = "marvell,88pm830-bat";

						marvell,fg-has-external-storage;
						external-storage = <&pmic1>;

						bat-ntc-support = <1>;
						bat-capacity = <2000>;	/* mAh */
						external-resistor = <200>; /* mohm */
						sleep-period = <1000>; /* second */
						low-threshold = <30>; /* % */
						high-threshold = <50>; /* % */
						power-off-threshold = <3350>; /* mV */
						safe-power-off-threshold = <3000>; /* mV */
						ocv-table = <
							3397 3445 3477 3496 3506 3513 3519 3526 3532 3540
							3551 3563 3576 3587 3600 3612 3625 3637 3649 3662
							3674 3687 3699 3709 3719 3727 3733 3739 3744 3748
							3752 3755 3758 3761 3763 3765 3766 3767 3769 3770
							3771 3772 3773 3774 3776 3777 3778 3780 3781 3784
							3786 3790 3794 3799 3805 3812 3819 3828 3838 3846
							3854 3860 3867 3873 3879 3885 3891 3897 3903 3910
							3916 3923 3930 3937 3944 3951 3959 3966 3973 3981
							3989 3997 4006 4015 4024 4034 4043 4053 4063 4073
							4082 4092 4102 4112 4122 4133 4144 4155 4167 4179
						>;

						/* battery temerature feature parameters */
						temp-range-num = <1>;
						switch-thr = <64 64>; /* C */
						gp0-bias-curr = <16 16 16>; /* uA */
						/* choose -20C, 0C, 45C, 60C as threshold */
						r-tbat-thr = <77523 28704 4847 2981>; /* ohm */
						ntc-table-size = <88>;
						/* -24C, -23C, ..., 62C, 63C */
						ntc-table = <
							96391 91222 86369 81809 77523 73492 69701 66132
							62772 59606 56623 53810 51157 48654 46290 44058
							41950 39957 38072 36290 34603 33006 31494 30062
							28704 27417 26197 25039 23940 22897 21906 20964
							20070 19219 18410 17641 16909 16212 15548 14916
							14313 13739 13192 12670 12171 11696 11242 10809
							10395 10000 9622  9261  8916  8585  8269  7967
							7678  7400  7135  6881  6637  6403  6180  5965
							5759  5561  5372  5189  5015  4847  4686  4531
							4382  4238  4101  3969  3842  3719  3601  3488
							3379  3274  3172  3075  2981  2890  2803  2719
						>;
					};

					usb {
						compatible = "marvell,88pm830-vbus";
						gpadc-number = <1>;
					};

					led {
						compatible = "marvell,88pm830-led";

						flash-en-gpio = <95>;
						flash-txmsk-gpio = <19>;
					};
				};
			};

			twsi3: i2c@d4013800 {
				pinctrl-names = "default", "gpio";
				pinctrl-0 = <&twsi3_pmx_func>;
				pinctrl-1 = <&twsi3_pmx_gpio>;
				i2c-gpio = <&gpio 73 0 &gpio 74 0>;
				status = "okay";

				sensor2: bmp18x@77 {
					compatible = "BOSCH,bmp18x";
					reg = <0x77>;
					avdd-supply = <&ldo10>;
				};

				sensor3: mpu9250@69 {
					compatible = "invensense,mpu9250";
					pinctrl-names = "default";
					pinctrl-0 = <&m9250_irq_pin>;
					reg = <0x69>;
					interrupt-parent = <&gpio>;
					interrupts = <65 IRQ_TYPE_EDGE_FALLING>;
					inven,irq-gpios = <&gpio 65 0x00>;
					avdd-supply = <&ldo10>;
					axis_map_x = <0>;
					negate_x = <0>;
					axis_map_y = <4>;
					negate_y = <0>;
					axis_map_z = <8>;
					negate_z = <0>;
					inven,secondary_axis_map_x = <0>;
					inven,secondary_negate_x = <0>;
					inven,secondary_axis_map_y = <4>;
					inven,secondary_negate_y = <0>;
					inven,secondary_axis_map_z = <8>;
					inven,secondary_negate_z = <0>;
					inven,secondary_type = "compass";
					inven,secondary_name = "ak8963";
					inven,secondary_reg = <0xc>;
				};
			};

			acipc: acipc@d401d000 {
				status = "okay";
			};

			seh: seh@d4080000 {
				compatible = "mrvl,seh";
				reg = <0xd4080000 0x100>, <0xd403d300 0x4>;
				interrupts = <0 32 0x4>;
				interrupt-names = "CP_TIMER2_3";
				watchdog-type = <1>; /* soc timer */
				timer-num = <2>; /* timer num */
				match-num = <0>; /* match num */
				status = "okay";
			};

			cp-load {
				compatible = "mrvl,cp_load";
				cp-type = <0>; /* pxa988 */
				lpm-qos = <PM_QOS_CPUIDLE_BLOCK_AXI>;
				status = "okay";
			};
		};

		sram: sram@0xd1004000 {
			status = "okay";
		};

		mcam0:mcam@0 {
			pwdn-gpios = <&gpio 80 0>;
			reset-gpios = <&gpio 67 0>;
			af_2v8-supply = <&ldo10>;
			avdd_2v8-supply = <&ldo11>;
			dovdd_1v8-supply = <&voutsw>;
			dvdd_1v2-supply = <&ldo12>;
			dphy_val = <0xff1d00 0x00024733 0x04001001>;
			status = "disable";
		};

		mcam1:mcam@1 {
			pwdn-gpios = <&gpio 70 0>;
			reset-gpios = <&gpio 69 0>;
			af_2v8-supply = <&ldo10>;
			avdd_2v8-supply = <&ldo11>;
			dovdd_1v8-supply = <&voutsw>;
			dvdd_1v2-supply = <&ldo12>;
			dphy_val = <0x1806 0x00011 0xe00>;
			status = "okay";
		};

		soc-camera@0 {
			status = "okay";
		};

		soc-camera@1 {
			status = "okay";
		};

		/*
		 * ramoops:
		 * 256 KB memory starts at 0x8100000
		 * pstore dump: 2 chunks, totall 64 KB, 32 KB each
		 * console size: 192 KB
		 * no dump_oops
		 */
		ramoops {
			compatible = "pstore,ramoops";
			mem-size = <0x40000>;
			mem-address = <0x8100000>;
			record-size = <0x8000>;
			console-size = <0x30000>;
			dump-oops = <0>;
			status = "okay";
		};
	};

	mmp_pcm_hostless: mmp_pcm_hostless {
		bus_number = <0>;
		compatible = "marvell,mmp-pcm-hostless";
		#dailink-cells = <1>;
		status = "okay";
	};

	snd_soc_dummy: snd_soc_dummy {
		compatible = "snd-soc-dummy";
		#dailink-cells = <1>;
		status = "okay";
	};

	sound {
		compatible = "marvell,map-card";
		map,dapm-route =
			"ADC input1", "TDM_MIC1_CAP",
			"ADC input2", "TDM_MIC2_CAP",
			"ADC input3", "BT_VC_UL",
			"TDM_OUT1_PLAYBACK", "DAC1 output out1",
			"TDM_OUT2_PLAYBACK", "DAC2 output out2",
			"BT_VC_DL", "ADC output ain3";
		fe_i2s1: fe_i2s1 {
			compatible = "marvell,map-dailink-1";
			dai-name = "MAP I2S1 audio";
			stream-name = "map i2s1";
			marvell,cpu-dai = <&sspa0 0>;
			marvell,codec-dai = <&mmp_map_codec 1>;
			marvell,dai-dynamic;
		};
		fe_i2s2: fe_i2s2 {
			compatible = "marvell,map-dailink-1";
			dai-name = "MAP I2S4 audio";
			stream-name = "map i2s4";
			marvell,cpu-dai = <&sspa1 1>;
			marvell,codec-dai = <&mmp_map_codec 4>;
			marvell,dai-dynamic;
		};
		fe_i2s3: fe_i2s3 {
			compatible = "marvell,map-dailink-2";
			dai-name = "MAP I2S2 audio";
			stream-name = "map i2s2";
			marvell,cpu-dai = <&mmp_pcm_hostless 0>;
			marvell,codec-dai = <&mmp_map_codec 2>;
			marvell,dai-dynamic;
			marvell,dai-no-host-mode;
		};
		fe_i2s4: fe_i2s4 {
			compatible = "marvell,map-dailink-1";
			dai-name = "MAP I2S3 audio";
			stream-name = "map i2s3";
			marvell,cpu-dai = <&mmp_pcm_hostless 0>;
			marvell,codec-dai = <&mmp_map_codec 3>;
			marvell,dai-dynamic;
			marvell,dai-no-host-mode;
		};
		be_i2s1: be_i2s1 {
			compatible = "marvell,map-dailink-3";
			dai-name = "MAP AUXI2S audio";
			stream-name = "BT audio";
			marvell,cpu-dai = <&mmp_map_be 1>;
			marvell,codec-dai = <&snd_soc_dummy 0>;
			marvell,codec-name = "snd-soc-dummy";
			marvell,codec-dai-name = "snd-soc-dummy-dai";
			marvell,dai-no-pcm;
			marvell,dai-fixup = <0>;
		};
		be_i2s2: be_i2s2 {
			compatible = "marvell,map-dailink-6";
			dai-name = "MAP TDM hs audio";
			stream-name = "codec hs audio";
			marvell,cpu-dai = <&mmp_map_be_tdm 2>;
			marvell,codec-dai = <&pm860_codec 3>;
			marvell,dai-no-pcm;
			marvell,dai-fixup = <1>;
		};
		be_i2s3: be_i2s3 {
			compatible = "marvell,map-dailink-4";
			dai-name = "MAP TDM speaker audio";
			stream-name = "codec speaker audio";
			marvell,cpu-dai = <&mmp_map_be_tdm 1>;
			marvell,codec-dai = <&pm860_codec 4>;
			marvell,dai-no-pcm;
			marvell,dai-fixup = <1>;
		};
		be_i2s4: be_i2s4 {
			compatible = "marvell,map-dailink-5";
			dai-name = "MAP TDM mic1 audio";
			stream-name = "codec mic1 audio";
			marvell,cpu-dai = <&mmp_map_be_tdm 3>;
			marvell,codec-dai = <&pm860_codec 1>;
			marvell,dai-no-pcm;
		};
		be_i2s5: be_i2s5 {
			compatible = "marvell,map-dailink-5";
			dai-name = "MAP TDM mic2 audio";
			stream-name = "codec mic2 audio";
			marvell,cpu-dai = <&mmp_map_be_tdm 4>;
			marvell,codec-dai = <&pm860_codec 2>;
			marvell,dai-no-pcm;
		};
	};

	ion {
		marvell,ion-nr = <2>;
		status = "okay";
		marvell,ion-iommu = <1>;
		heap1 {
			marvell,ion-name = "carveout_heap";
			marvell,ion-type = <2>;
			marvell,ion-id = <2>;
			marvell,ion-base = <0>;
			marvell,ion-size = <0>;
		};
		heap2 {
			marvell,ion-name = "system_heap";
			marvell,ion-type = <0>;
			marvell,ion-id = <0>;
		};
	};

	panel1: lg4591 {
		compatible = "marvell,mmp-lg4591";
		marvell,path-name = "mmp_pnpath";
		rst_gpio = <&gpio 4 0>;
		avdd-supply = <&ldo10>;
		status = "okay";
	};

	panel2: r63311 {
		compatible = "marvell,mmp-r63311";
		marvell,path-name = "mmp_pnpath";
		rst_gpio = <&gpio 4 0>;
		power_gpio = <&gpio 6 0>;
		bl_gpio = <&gpio 32 0>;
		status = "okay";
	};

	plat_cam {
		status = "okay";
		backsensor {
			compatible = "marvell,backsensor";
			#address-cells = <1>;
			#size-cells = <0>;
			status = "okay";
			OV13850: sensor@1 {
				compatible = "marvell,ov13850","marvell,sensor";
				sensor-name = "ovt,ov13850";
				reg = <0x10>;
				adapter = <0x1>;
				status = "okay";
				sensor-pos = <1>;
				mclk = <26000000>;
				dphy3 = <0x1500>;
				dphy5 = <0xff>;
				dphy6 = <0x1001>;
				af_2v8-supply = <&ldo10>;
				avdd_2v8-supply = <&ldo11>;
				dovdd_1v8-supply = <&voutsw>;
				dvdd_1v2-supply = <&ldo12>;
				sensor_power {
					pwdn-gpios = <&gpio 68 0>;
					reset-gpios = <&gpio 67 0>;
					pwdn-validvalue = <0>;
					reset-validvalue = <0>;
				};
			};
		};
	};

	b52isp_sc2_csi0 {
		status = "okay";
	};
	b52isp_sc2_csi1 {
		status = "okay";
	};
	b52isp_sc2_dma0 {
		status = "okay";
	};
	b52isp_sc2_dma1 {
		status = "okay";
	};

	sd8x-rfkill {
		sd-host = <&sdh2>;
		pd-gpio = <&gpio 7 0>;
		rst-gpio = <&gpio 71 0>;
		3v3-ldo-gpio = <&gpio 20 0>;
		edge-wakeup-gpio = <&gpio 39 0>;
		status = "okay";
	};

	sd8xxx-wlan {
		drv_mode = <0x5>;
		cfg80211_wext = <0xc>;
		sta_name = "wlan";
		wfd_name = "p2p";
		max_vir_bss = <1>;
		drvdbg = <0x80007>;
		dev_cap_mask = <0xffffcfff>;
		init_cfg = "mrvl/wifi_init_cfg.conf";
		reg_alpha2 = "US";
		p2p_enh = <1>;
	};

	sd8xxx-bt {
		init_cfg = "mrvl/bt_init_cfg.conf";
	};

	mmp_m3_1: apsenhb {
		compatible = "marvell,mmp-m3";
		vm3pwr-supply = <&ldo13>;
		antpwr-supply = <&ldo8>;

		pinctrl-names = "default", "poweron", "unfuse_en_d2";
		pinctrl-0 = <&gnss_pmx_def1 &gnss_pmx_def2>;
		pinctrl-1 = <&gnss_pmx_power_on>;
		pinctrl-2 = <&gnss_pmx_def2>;
		status = "okay";
	};

	mmp_m3_2: cm3senhb {
		compatible = "marvell,mmp-m3";
		vm3pwr-supply = <&ldo13>;
		senpwr-supply = <&ldo10>;
		antpwr-supply = <&ldo8>;

		pinctrl-names = "default", "poweron", "unfuse_en_d2";
		pinctrl-0 = <&gnss_pmx_def1 &gnss_pmx_def2 &twsi3_pmx_senhb_def &senhb_irq_pins_def>;
		pinctrl-1 = <&gnss_pmx_power_on &twsi3_pmx_senhb>;
		pinctrl-2 = <&gnss_pmx_def2>;
		status = "okay";
	};

	gps: mmp-gps {
		compatible = "marvell,mmp-gps";
		marvell,gps-eclk-ctrl;

		vgps-supply = <&ldo13>;

		pinctrl-names = "default", "idle";
		pinctrl-0 = <&gps_pmx_eclk &gps_pmx_reset>;
		pinctrl-1 = <&gps_pmx_gpio>;

		on-off-gpio = <&gpio 96 0>;
		reset-n-gpio = <&gpio 12 0>;
	};

	led-rgb {
		compatible = "marvell,led-rgb";
		pinctrl-names = "default";
		pinctrl-0 = <&led_pmx_func>;
		led_r = <&gpio 102 0>;
		led_g = <&gpio 103 0>;
		led_b = <&gpio 104 0>;
		status = "okay";
	};

	board-thermal {
		compatible = "marvell,gpadc-thermal";
		status = "okay";
	};
};
